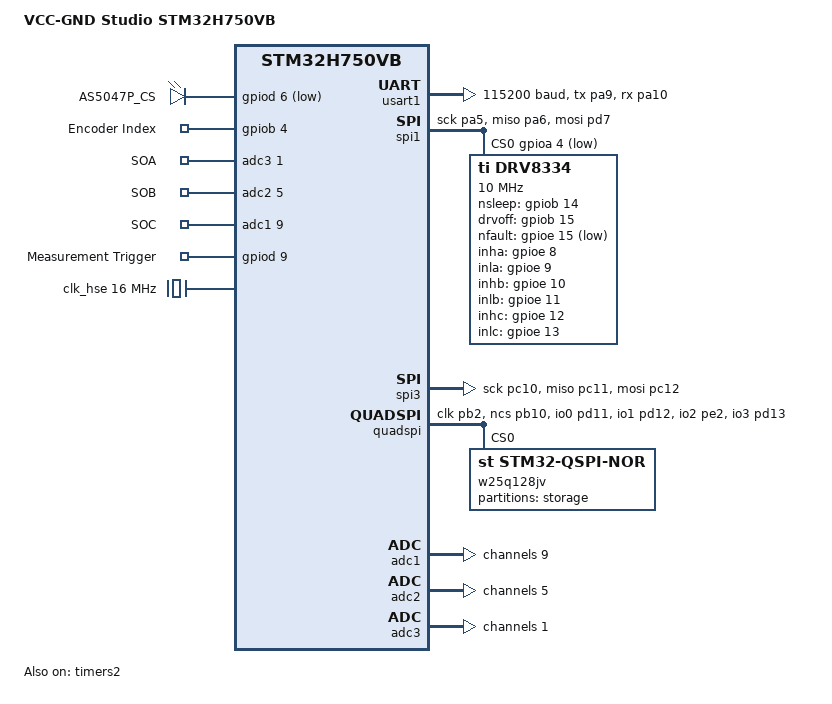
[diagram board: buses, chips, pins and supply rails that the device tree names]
/*
 * Copyright (c) 2026 Paul Reisch
 *
 * SPDX-License-Identifier: Apache-2.0
 */

/dts-v1/;
#include <st/h7/stm32h750Xb.dtsi>
#include <st/h7/stm32h750vbtx-pinctrl.dtsi>
#include <zephyr/dt-bindings/input/input-event-codes.h>
#include "stm32h750vb_bldc.dtsi"


/ {
	model = "VCC-GND Studio STM32H750VB";
	compatible = "st,stm32h750vb";

	aliases {
		spi-flash0 = &w25q128jv;
		storage-flash = &storage_partition;
		meas-trigger = &meas_trigger;

	};

	chosen {
		zephyr,console = &usart1;
		zephyr,shell-uart = &usart1;
		zephyr,sram = &sram0;
		zephyr,flash = &flash0;
		zephyr,flash-controller = &w25q128jv;
	};

	leds {
		compatible = "gpio-leds";
		as5047p_cs: as5047p_cs {
			gpios = <&gpiod 6 GPIO_ACTIVE_LOW>;
			label = "AS5047P_CS";
		};
	};
	/* Define the Index Pin as a GPIO for Interrupt use */
	encoder_index: encoder_index {
		compatible = "gpio-keys";
		index_pin: index_pin {
			gpios = <&gpiob 4 (GPIO_ACTIVE_HIGH | GPIO_PULL_DOWN)>;
			label = "Encoder Index";
		};
	};

	// ADC
	zephyr,user {
		/* Expose the handles to your C code via an indexing array */
		io-channels = <&adc3 1>, <&adc2 5>, <&adc1 9>;
		io-channel-names = "SOA", "SOB", "SOC";
	};

	trigger_signal {
		compatible = "gpio-keys";
		meas_trigger: meas_trigger {
			gpios = <&gpiod 9 (GPIO_PULL_DOWN | GPIO_ACTIVE_HIGH)>;
			label = "Measurement Trigger";
		};
	};

};

&clk_lse {
	status = "okay";
};

&clk_hse {
	clock-frequency = <DT_FREQ_M(16)>;
	status = "okay";
};

&pll {
	div-m = <1>;
	mul-n = <60>;
	div-p = <2>;
	div-q = <15>;
	div-r = <6>;
	clocks = <&clk_hse>;
	status = "okay";
};

&rcc {
	clocks = <&pll>;
	clock-frequency = <DT_FREQ_M(480)>;
	d1cpre = <1>;   /* SYSCLK / 1 = 480MHz */
	hpre = <2>;    /* 480MHz / 2 = 240MHz (Max AHB speed) */
	d1ppre = <2>;  /* 240MHz / 2 = 120MHz (APB3) */
	d2ppre1 = <2>; /* 240MHz / 2 = 120MHz (APB1) */
	d2ppre2 = <2>; /* 240MHz / 2 = 120MHz (APB2) */
	d3ppre = <2>;  /* 240MHz / 2 = 120MHz (APB4) */
};

&pwr {
	power-supply = "ldo";
};

&usart1 {
	pinctrl-names = "default";
	pinctrl-0 = <&usart1_tx_pa9 &usart1_rx_pa10>;
	current-speed = <115200>;
	status = "okay";
};

&pinctrl {
	spi3_sck_pc10: spi3_sck_pc10 {
		pinmux = <STM32_PINMUX('C', 10, AF6)>;
		bias-pull-down;
	};
	spi3_miso_pc11: spi3_miso_pc11 {
		pinmux = <STM32_PINMUX('C', 11, AF6)>;
		bias-pull-up;
	};
	spi3_mosi_pc12: spi3_mosi_pc12 {
		pinmux = <STM32_PINMUX('C', 12, AF6)>;
		bias-pull-down;
	};
};

&spi1 {
    pinctrl-0 = <&spi1_sck_pa5 &spi1_miso_pa6 &spi1_mosi_pd7>;
    pinctrl-names = "default";
    status = "okay";
    cs-gpios = <&gpioa 4 GPIO_ACTIVE_LOW>;

    drv8334: drv8334@0 {
        compatible = "ti,drv8334";
        reg = <0>;
        spi-max-frequency = <10000000>;

        /* Control GPIOs */
        nsleep-gpios = <&gpiob 14 GPIO_ACTIVE_HIGH>;
        drvoff-gpios = <&gpiob 15 GPIO_ACTIVE_HIGH>;
        nfault-gpios = <&gpioe 15 GPIO_ACTIVE_LOW>;

        /* PWM Interface Pins */
        inha-gpios = <&gpioe 8 GPIO_ACTIVE_HIGH>;
        inla-gpios = <&gpioe 9 GPIO_ACTIVE_HIGH>;
        inhb-gpios = <&gpioe 10 GPIO_ACTIVE_HIGH>;
        inlb-gpios = <&gpioe 11 GPIO_ACTIVE_HIGH>;
        inhc-gpios = <&gpioe 12 GPIO_ACTIVE_HIGH>;
        inlc-gpios = <&gpioe 13 GPIO_ACTIVE_HIGH>;
    };
};

/* Note: ADC configuration for PC3_C, PB1, PB0 (SOA, SOB, SOC)
   would typically be handled via the ADC peripheral nodes. */

&spi3 {
	status = "okay";
	pinctrl-0 = <&spi3_sck_pc10 &spi3_miso_pc11 &spi3_mosi_pc12>;
	pinctrl-names = "default";
	// cs-gpios = <&gpioa 4 GPIO_ACTIVE_LOW>; CS was not toggled
	// keep this for later testing if i want to make a driver package for the this sensor else delete it at the end.
	// as5047p@0 {
		//     status = "okay";
		//     compatible = "ams,as5047p";
		//     reg = <0>;
		//     spi-max-frequency = <10000000>;
	// };
};

//&sdmmc1 {
	//    pinctrl-names = "default";
	//    pinctrl-0 = <&sdmmc1_d0_pc8 &sdmmc1_d1_pc9
	//             &sdmmc1_d2_pc10 &sdmmc1_d3_pc11
	//             &sdmmc1_ck_pc12 &sdmmc1_cmd_pd2>;
	//    cd-gpios = <&gpioa 8 GPIO_ACTIVE_LOW>;
	//    disk-name = "SD";
	//    status = "okay";
//};

&quadspi {
	pinctrl-names = "default";
	pinctrl-0 = <&quadspi_clk_pb2 &quadspi_bk1_ncs_pb10
	&quadspi_bk1_io0_pd11 &quadspi_bk1_io1_pd12
	&quadspi_bk1_io2_pe2 &quadspi_bk1_io3_pd13>;
	status = "okay";

	w25q128jv: qspi-nor-flash@0 {
		compatible = "st,stm32-qspi-nor";
		reg = <0>;
		size = <DT_SIZE_M(128)>; /* 128 Mbits */
		qspi-max-frequency = <80000000>;
		cs-high-time = <4>; /* >= 50 ns */
		spi-bus-width = <4>;
		jedec-id = [ ef 40 18  ];
		status = "okay";
		/* Tell Zephyr to program the QE bit in Status Register 2 -> enables QSPI else only Singe Wire works*/
		quad-enable-requirements = "S2B1v1";
		partitions {
			compatible = "fixed-partitions";
			#address-cells = <1>;
			#size-cells = <1>;

			storage_partition: partition@0 {
				label = "storage";
				reg = <0x0 DT_SIZE_M(16)>;
			};
		};
	};
};


&timers2 {
	status = "okay";
	qdec: qdec {
		status = "okay";
		pinctrl-0 = <&tim2_ch1_pa15 &tim2_ch2_pb3>;
		pinctrl-names = "default";
		st,counts-per-revolution = <2048>;
		st,input-filter-level = <1>; // default is 0
	};
};

&adc1 {
	status = "okay";
	#address-cells = <1>;
	#size-cells = <0>;
	st,adc-clock-source = "SYNC";
	st,adc-prescaler = <1>;

	channel@9 {
		reg = <9>;
		zephyr,gain = "ADC_GAIN_1";
		zephyr,reference = "ADC_REF_INTERNAL";
		zephyr,acquisition-time = <ADC_ACQ_TIME_DEFAULT>;
		zephyr,resolution = <12>;
	};

	// broken due to internal use - not sure how to fix this yet, maybe use adc3 for temp sensor and adc1 for the 3 shunt voltages? or just use adc2 for the 3 shunt voltages and adc1 for the temp sensor? will have to test this out.
	// channel@10 {
	// 	reg = <10>;
	// 	zephyr,gain = "ADC_GAIN_1";
	// 	zephyr,reference = "ADC_REF_INTERNAL";
	// 	zephyr,acquisition-time = <ADC_ACQ_TIME_DEFAULT>;
	// 	zephyr,resolution = <12>;
	// };
};

&adc2 {
	status = "okay";
	#address-cells = <1>;
	#size-cells = <0>;
	st,adc-clock-source = "SYNC";
	st,adc-prescaler = <1>;

	channel@5 {
		reg = <5>;
		zephyr,gain = "ADC_GAIN_1";
		zephyr,reference = "ADC_REF_INTERNAL";
		zephyr,acquisition-time = <ADC_ACQ_TIME_DEFAULT>;
		zephyr,resolution = <12>;
	};
};

&adc3 {
	status = "okay";
	#address-cells = <1>;
	#size-cells = <0>;
	st,adc-clock-source = "SYNC";
	st,adc-prescaler = <1>;

	channel@1 {
		reg = <1>;
		zephyr,gain = "ADC_GAIN_1";
		zephyr,reference = "ADC_REF_INTERNAL";
		zephyr,acquisition-time = <ADC_ACQ_TIME_DEFAULT>;
		zephyr,resolution = <12>;
	};
};

